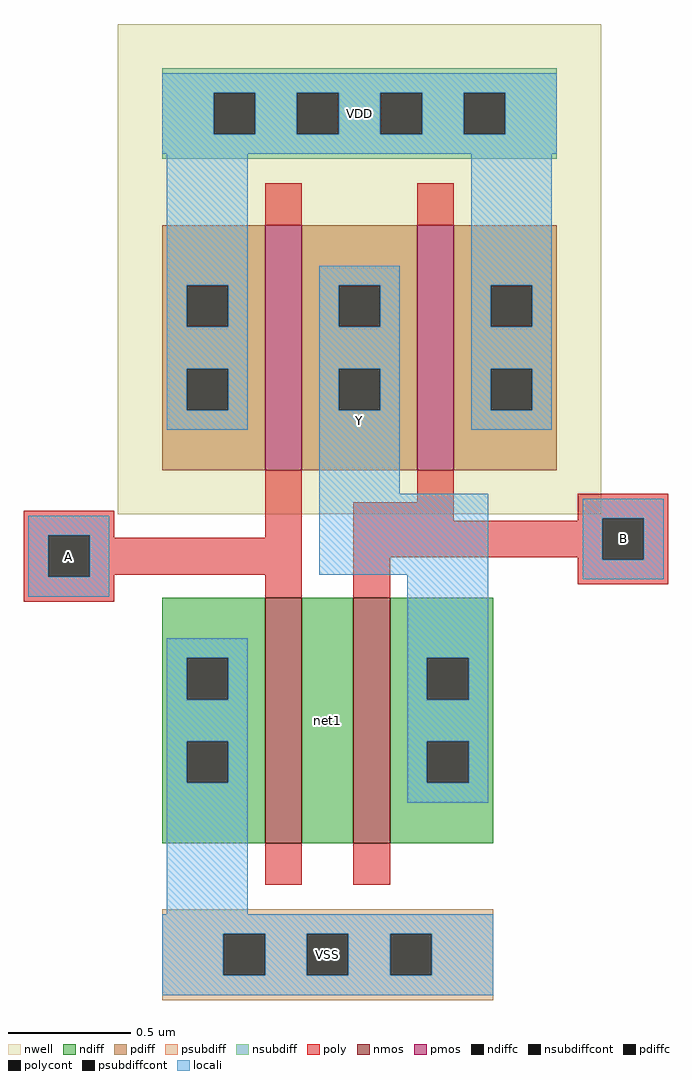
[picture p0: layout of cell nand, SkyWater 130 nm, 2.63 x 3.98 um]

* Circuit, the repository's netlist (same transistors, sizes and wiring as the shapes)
* NGSPICE file created from nand.ext - technology: sky130A

.subckt nand A B Y VDD VSS
X0 net1 A VSS VSS sky130_fd_pr__nfet_01v8 ad=0.105 pd=1.21 as=0.42 ps=2.84 w=1 l=0.15
X1 Y B net1 VSS sky130_fd_pr__nfet_01v8 ad=0.42 pd=2.84 as=0.105 ps=1.21 w=1 l=0.15
X2 VDD B Y VDD sky130_fd_pr__pfet_01v8 ad=0.42 pd=2.84 as=0.235 ps=1.47 w=1 l=0.15
X3 Y A VDD VDD sky130_fd_pr__pfet_01v8 ad=0.235 pd=1.47 as=0.42 ps=2.84 w=1 l=0.15
.ends

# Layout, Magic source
magic
tech sky130A
magscale 1 2
<< nwell >>
rect -36 -36 358 364
<< nmos >>
rect 84 -304 114 -104
rect 156 -304 186 -104
<< pmos >>
rect 84 0 114 200
rect 208 0 238 200
<< ndiff >>
rect 0 -153 84 -104
rect 0 -187 20 -153
rect 54 -187 84 -153
rect 0 -221 84 -187
rect 0 -255 20 -221
rect 54 -255 84 -221
rect 0 -304 84 -255
rect 114 -304 156 -104
rect 186 -153 270 -104
rect 186 -187 216 -153
rect 250 -187 270 -153
rect 186 -221 270 -187
rect 186 -255 216 -221
rect 250 -255 270 -221
rect 186 -304 270 -255
<< pdiff >>
rect 0 151 84 200
rect 0 117 20 151
rect 54 117 84 151
rect 0 83 84 117
rect 0 49 20 83
rect 54 49 84 83
rect 0 0 84 49
rect 114 151 208 200
rect 114 117 144 151
rect 178 117 208 151
rect 114 83 208 117
rect 114 49 144 83
rect 178 49 208 83
rect 114 0 208 49
rect 238 151 322 200
rect 238 117 268 151
rect 302 117 322 151
rect 238 83 322 117
rect 238 49 268 83
rect 302 49 322 83
rect 238 0 322 49
<< ndiffc >>
rect 20 -187 54 -153
rect 20 -255 54 -221
rect 216 -187 250 -153
rect 216 -255 250 -221
<< pdiffc >>
rect 20 117 54 151
rect 20 49 54 83
rect 144 117 178 151
rect 144 49 178 83
rect 268 117 302 151
rect 268 49 302 83
<< psubdiff >>
rect 0 -378 270 -358
rect 0 -412 50 -378
rect 84 -412 118 -378
rect 152 -412 186 -378
rect 220 -412 270 -378
rect 0 -432 270 -412
<< nsubdiff >>
rect 0 308 322 328
rect 0 274 42 308
rect 76 274 110 308
rect 144 274 178 308
rect 212 274 246 308
rect 280 274 322 308
rect 0 254 322 274
<< psubdiffcont >>
rect 50 -412 84 -378
rect 118 -412 152 -378
rect 186 -412 220 -378
<< nsubdiffcont >>
rect 42 274 76 308
rect 110 274 144 308
rect 178 274 212 308
rect 246 274 280 308
<< poly >>
rect 84 200 114 234
rect 208 200 238 234
rect -113 -53 -39 -33
rect -113 -87 -93 -53
rect -59 -55 -39 -53
rect 84 -55 114 0
rect 208 -26 238 0
rect -59 -85 114 -55
rect -59 -87 -39 -85
rect -113 -107 -39 -87
rect 84 -104 114 -85
rect 156 -41 238 -26
rect 339 -39 413 -19
rect 339 -41 359 -39
rect 156 -71 359 -41
rect 156 -104 186 -71
rect 339 -73 359 -71
rect 393 -73 413 -39
rect 339 -93 413 -73
rect 84 -338 114 -304
rect 156 -338 186 -304
<< polycont >>
rect -93 -87 -59 -53
rect 359 -73 393 -39
<< locali >>
rect 0 308 322 324
rect 0 274 42 308
rect 76 274 110 308
rect 144 274 178 308
rect 212 274 246 308
rect 280 274 322 308
rect 0 258 322 274
rect 4 151 70 258
rect 4 117 20 151
rect 54 117 70 151
rect 4 83 70 117
rect 4 49 20 83
rect 54 49 70 83
rect 4 33 70 49
rect 128 151 194 167
rect 128 117 144 151
rect 178 117 194 151
rect 128 83 194 117
rect 128 49 144 83
rect 178 49 194 83
rect 128 -19 194 49
rect 252 151 318 258
rect 252 117 268 151
rect 302 117 318 151
rect 252 83 318 117
rect 252 49 268 83
rect 302 49 318 83
rect 252 33 318 49
rect -109 -53 -43 -37
rect -109 -87 -93 -53
rect -59 -87 -43 -53
rect 128 -85 266 -19
rect -109 -103 -43 -87
rect 4 -153 70 -137
rect 4 -187 20 -153
rect 54 -187 70 -153
rect 4 -221 70 -187
rect 4 -255 20 -221
rect 54 -255 70 -221
rect 4 -362 70 -255
rect 200 -153 266 -85
rect 343 -39 409 -23
rect 343 -73 359 -39
rect 393 -73 409 -39
rect 343 -89 409 -73
rect 200 -187 216 -153
rect 250 -187 266 -153
rect 200 -221 266 -187
rect 200 -255 216 -221
rect 250 -255 266 -221
rect 200 -271 266 -255
rect 0 -378 270 -362
rect 0 -412 50 -378
rect 84 -412 118 -378
rect 152 -412 186 -378
rect 220 -412 270 -378
rect 0 -428 270 -412
<< labels >>
flabel locali 0 258 322 324 1 FreeSans 480 0 0 0 VDD
port 4 n
flabel locali 0 -428 270 -362 1 FreeSans 480 0 0 0 VSS
port 5 n
flabel ndiff 115 -224 155 -184 1 FreeSans 480 0 0 0 net1
flabel locali -109 -103 -43 -37 1 FreeSans 480 0 0 0 A
port 1 n
flabel locali 343 -89 409 -23 1 FreeSans 480 0 0 0 B
port 2 n
flabel locali 128 -85 194 167 1 FreeSans 480 0 0 0 Y
port 3 n
<< end >>
